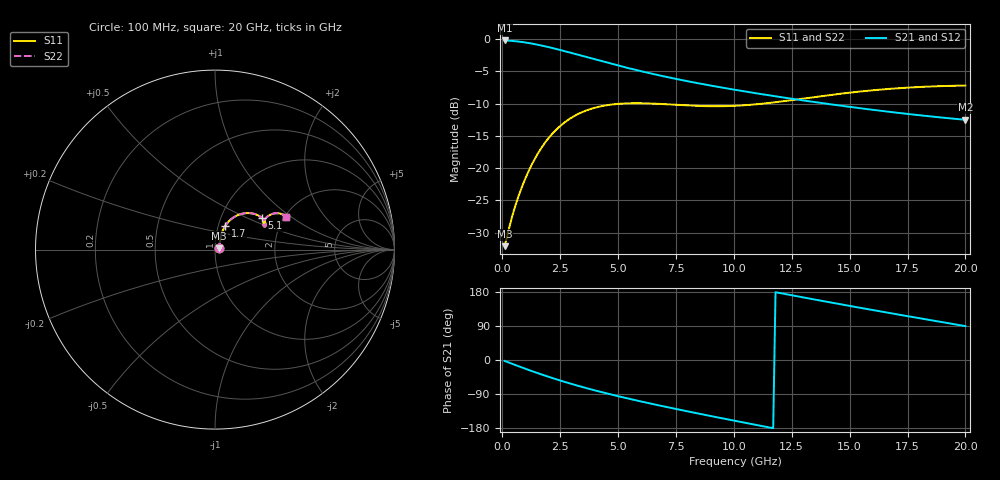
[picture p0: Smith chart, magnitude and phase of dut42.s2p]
! Touchstone file exported from HFSS 2024.1.0
!  File:  C:/UserFiles/LocalFiles/RDL_TSV_Batchsim/temp_RDL_TSV_42_1779404858.aedt
!  Generated:  07:23:55 AM May 22, 2026
!  Design:  RDL_TSV
!  Project:  temp_RDL_TSV_42_1779404858
!  Setup:  Setup1
!  Solution:  Sweep
! Variables:
!  dtsv = 10.99um
!  hbump = 3um
!  htsv = 67.78um
!  ldown = 683.17um
!  lrdl = 506.93um
!  p = 40
!  p1 = 58.64um
!  rhole = 10um
!  subl = 4077.23um
!  t = 450um
!  tdown = 3.04um
!  trdl = 4.13um
!  viad = 10um
!  wdown = 23.24um
!  wrdl = 13.39um
!  xbump = 18um
# GHz S MA R 50.000000
! Terminal data exported
! Port[1] = TM1_1_T1
! Port[2] = TM1_4_T1
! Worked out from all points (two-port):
!   200 points, 100 MHz to 20 GHz, reference 50 ohm
!   highest |S21| = -0.21 dB at 100 MHz (marker M1); lowest = -12.5 dB at 20 GHz (marker M2)
!   |S21| within 3 dB of the highest: start of sweep to 4.07 GHz
!   lowest |S11| = -32.1 dB at 100 MHz (marker M3), VSWR 1.05, Z = 52.4 + j0.863 ohm
!   |S11| at or under -10 dB: start of sweep to 5.168 GHz; 6.511 GHz to 11.27 GHz (4.755 GHz wide, 53.5 % of centre)
!   |S22| runs from -32.1 to -7.2 dB; largest |S21 - S12| = 1.4e-14
!   S11 on the Smith chart (normalised r, x): 100 MHz: 1.05, +0.02; 1.7 GHz: 1.08, +0.29; 5.1 GHz: 1.57, +0.61; 20 GHz: 2.05, +0.91
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0.1  0.02481 19.4  0.9763 -2.4  0.9763 -2.4  0.02481 19.4
! Gamma 0 0 0 0
! Port Impedance 50 0 50 0
0.5  0.04685 54.6  0.9656 -11.9  0.9656 -11.9  0.04685 54.6
0.8  0.06773 63.5  0.9522 -18.7  0.9522 -18.7  0.06773 63.4
1.2  0.09998 67.8  0.9284 -27.6  0.9284 -27.6  0.09997 67.7
1.7  0.1443 66.8  0.8914 -38.3  0.8914 -38.3  0.1442 66.8
2.1  0.1795 63.6  0.8582 -46.4  0.8582 -46.4  0.1795 63.6
2.5  0.212 59.3  0.8236 -54.1  0.8236 -54.1  0.212 59.3
3  0.2468 53.6  0.7798 -63.3  0.7798 -63.3  0.2467 53.6
3.5  0.274 48.0  0.7371 -72.0  0.7371 -72.0  0.2739 48.0
4.3  0.3024 40.1  0.6736 -84.9  0.6736 -84.9  0.3023 40.1
5.1  0.3157 33.7  0.6175 -96.9  0.6175 -96.9  0.3156 33.7
5.9  0.3184 29.1  0.5691 -108.2  0.5691 -108.2  0.3183 29.1
6.8  0.3144 26.0  0.5226 -120.2  0.5226 -120.2  0.3144 26.0
7.6  0.3086 24.8  0.4874 -130.5  0.4874 -130.5  0.3085 24.8
8.4  0.3036 24.9  0.4568 -140.5  0.4568 -140.5  0.3035 24.9
10.1  0.3044 27.9  0.4031 -161.1  0.4031 -161.1  0.3043 27.9
11.6  0.3211 30.9  0.3648 -178.8  0.3648 -178.8  0.321 30.9
13.4  0.3538 32.3  0.3267 160.6  0.3267 160.6  0.3537 32.3
15  0.3844 31.5  0.2984 142.7  0.2984 142.7  0.3843 31.5
16.7  0.4111 29.4  0.2732 124.2  0.2732 124.2  0.411 29.3
18.3  0.4278 26.9  0.2537 107.2  0.2537 107.2  0.4276 26.9
20  0.4364 24.4  0.2368 89.4  0.2368 89.4  0.4363 24.4
